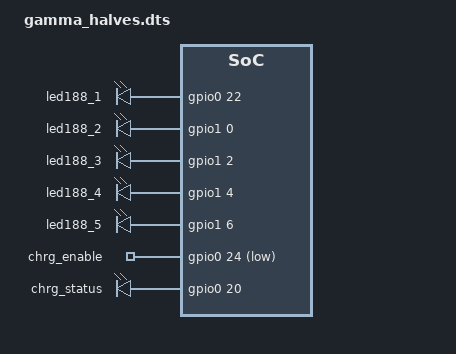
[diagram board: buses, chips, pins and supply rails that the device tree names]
#include "gamma.dtsi"

/ {
    gamma_gpios {
        compatible = "gpio-leds";
        led188_1: led_1 {
            gpios = <&gpio0 22 GPIO_ACTIVE_HIGH>;
        };
        led188_2: led_2 {
            gpios = <&gpio1 0 GPIO_ACTIVE_HIGH>;
        };
        led188_3: led_3 {
            gpios = <&gpio1 2 GPIO_ACTIVE_HIGH>;
        };
        led188_4: led_4 {
            gpios = <&gpio1 4 GPIO_ACTIVE_HIGH>;
        };
        led188_5: led_5 {
            gpios = <&gpio1 6 GPIO_ACTIVE_HIGH>;
        };

        chrg_enable: chrg_enable {
            gpios = <&gpio0 24 GPIO_ACTIVE_LOW>;
        };

        chrg_status: chrg_status {
            gpios = <&gpio0 20 (GPIO_ACTIVE_HIGH | GPIO_PULL_UP)>;
        };
    };
};
